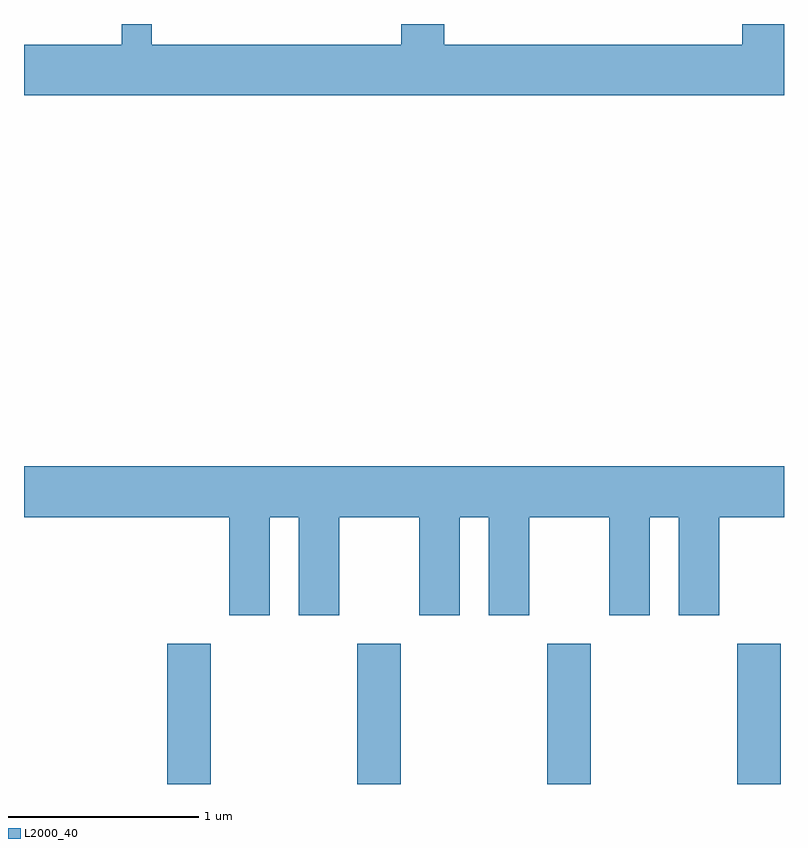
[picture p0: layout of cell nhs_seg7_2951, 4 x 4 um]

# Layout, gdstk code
import gdstk
lib = gdstk.Library(unit=1e-6, precision=1e-09)
def R(c, l, rs):  # rectangles x0, y0, x1, y1
    for r in rs: c.add(gdstk.rectangle(r[:2], r[2:], *l))
def A(c, l, x, y, w, h, nx, ny, dx, dy):  # array of equal rectangles
    R(c, l, [(x+i*dx, y+j*dy, x+i*dx+w, y+j*dy+h) for i in range(nx) for j in range(ny)])
def P(c, l, *ps):  # polygons
    for p in ps: c.add(gdstk.Polygon(p, *l))
L2000_40 = (2000, 40)

nhs_seg7_2951 = lib.new_cell('nhs_seg7_2951')
A(nhs_seg7_2951, L2000_40, 276.366, 1706.252, 0.228, 0.737, 4, 1, 1, 0)
P(nhs_seg7_2951, L2000_40, [(279.611,1710.252),(279.391,1710.252),(279.391,1710.144),(277.824,1710.144),(277.824,1710.252),(277.596,1710.252),(277.596,1710.144),(276.284,1710.144),(276.284,1710.252),(276.126,1710.252),(276.126,1710.144),(275.611,1710.144),(275.611,1709.876),(279.611,1709.876)],
  [(275.611,1707.656),(276.691,1707.656),(276.691,1707.141),(276.904,1707.141),(276.904,1707.656),(277.056,1707.656),(277.056,1707.141),(277.269,1707.141),(277.269,1707.656),(277.691,1707.656),(277.691,1707.141),(277.904,1707.141),(277.904,1707.656),(278.056,1707.656),(278.056,1707.141),(278.269,1707.141),(278.269,1707.656),(278.691,1707.656),(278.691,1707.141),(278.904,1707.141),(278.904,1707.656),(279.056,1707.656),(279.056,1707.141),(279.269,1707.141),(279.269,1707.656),(279.611,1707.656),(279.611,1707.924),(275.611,1707.924)])

lib.write_gds('nhs_seg7_2951.gds')
